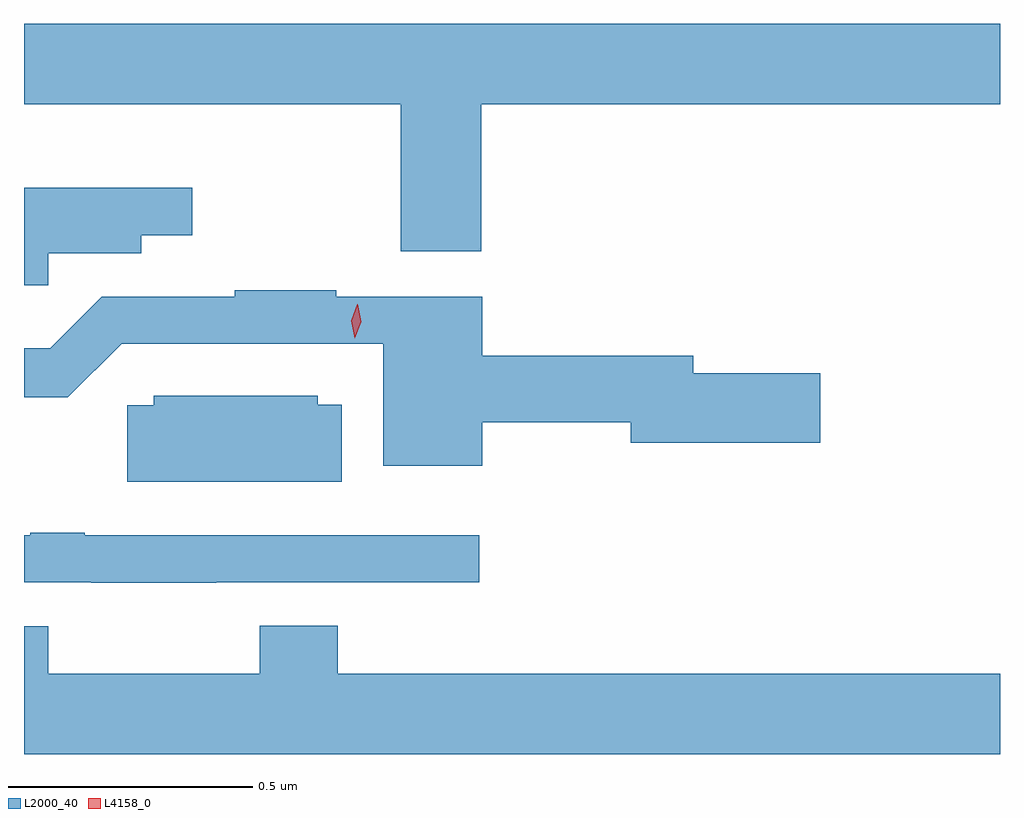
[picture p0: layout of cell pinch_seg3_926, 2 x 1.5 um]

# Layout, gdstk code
import gdstk
lib = gdstk.Library(unit=1e-6, precision=1e-09)
def P(c, l, *ps):  # polygons
    for p in ps: c.add(gdstk.Polygon(p, *l))
L2000_40 = (2000, 40)
L4158_0 = (4158, 0)

pinch_seg3_926 = lib.new_cell('pinch_seg3_926')
P(pinch_seg3_926, L2000_40, [(780.2,671.612),(781.263,671.612),(781.263,671.776),(779.263,671.776),(779.263,671.612),(780.035,671.612),(780.035,671.31),(780.2,671.31)],
  [(779.313,671.306),(779.503,671.306),(779.503,671.343),(779.608,671.343),(779.608,671.44),(779.263,671.44),(779.263,671.241),(779.313,671.241)],
  [(780.202,670.96),(780.506,670.96),(780.506,670.918),(780.895,670.918),(780.895,671.06),(780.634,671.06),(780.634,671.096),(780.202,671.096),(780.202,671.217),(779.903,671.217),(779.903,671.23),(779.695,671.23),(779.695,671.217),(779.422,671.217),(779.317,671.112),(779.263,671.112),(779.263,671.011),(779.353,671.011),(779.463,671.121),(779.999,671.121),(779.999,670.871),(780.202,670.871)],
  [(779.914,670.996),(779.865,670.996),(779.865,671.014),(779.529,671.014),(779.529,670.995),(779.475,670.995),(779.475,670.838),(779.914,670.838)],
  [(779.657,670.632),(780.196,670.632),(780.196,670.728),(779.387,670.728),(779.387,670.733),(779.276,670.733),(779.276,670.728),(779.263,670.728),(779.263,670.632),(779.401,670.632),(779.401,670.631),(779.657,670.631)],
  [(781.263,670.444),(779.906,670.444),(779.906,670.543),(779.746,670.543),(779.746,670.444),(779.313,670.444),(779.313,670.542),(779.263,670.542),(779.263,670.28),(781.263,670.28)])
P(pinch_seg3_926, L4158_0, [(779.941,671.132),(779.941,671.132),(779.934,671.168),(779.946,671.202),(779.946,671.202),(779.947,671.202),(779.954,671.166),(779.941,671.132)])

lib.write_gds('pinch_seg3_926.gds')
